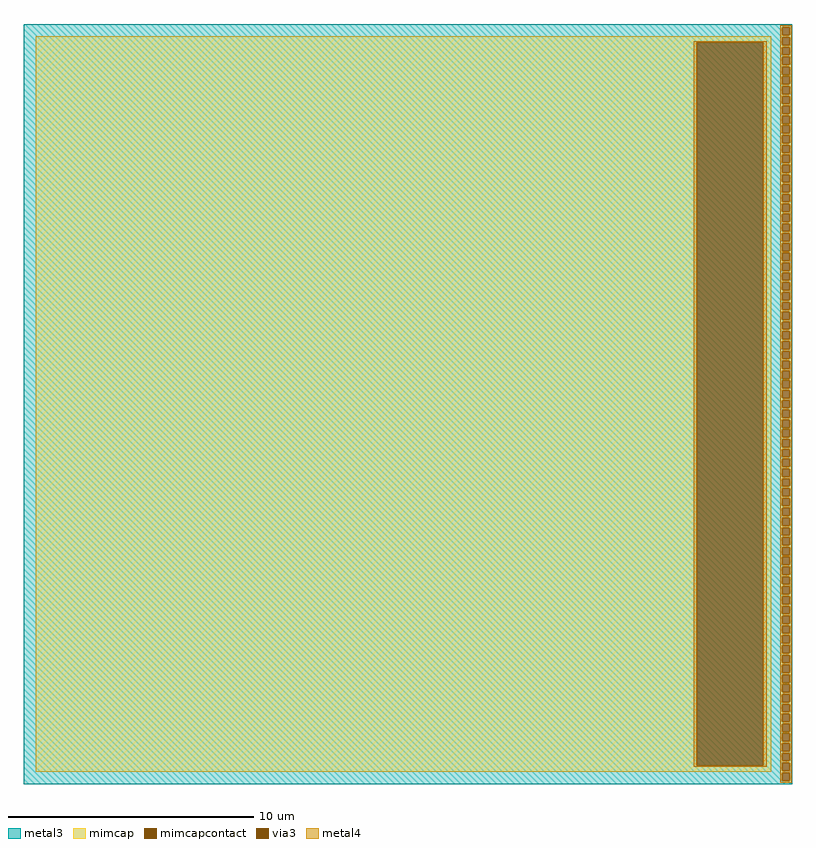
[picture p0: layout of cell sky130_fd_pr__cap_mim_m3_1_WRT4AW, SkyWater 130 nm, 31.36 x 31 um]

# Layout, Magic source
magic
tech sky130A
magscale 1 2
<< metal3 >>
rect -3136 3072 3136 3100
rect -3136 3008 3052 3072
rect 3116 3008 3136 3072
rect -3136 2992 3136 3008
rect -3136 2928 3052 2992
rect 3116 2928 3136 2992
rect -3136 2912 3136 2928
rect -3136 2848 3052 2912
rect 3116 2848 3136 2912
rect -3136 2832 3136 2848
rect -3136 2768 3052 2832
rect 3116 2768 3136 2832
rect -3136 2752 3136 2768
rect -3136 2688 3052 2752
rect 3116 2688 3136 2752
rect -3136 2672 3136 2688
rect -3136 2608 3052 2672
rect 3116 2608 3136 2672
rect -3136 2592 3136 2608
rect -3136 2528 3052 2592
rect 3116 2528 3136 2592
rect -3136 2512 3136 2528
rect -3136 2448 3052 2512
rect 3116 2448 3136 2512
rect -3136 2432 3136 2448
rect -3136 2368 3052 2432
rect 3116 2368 3136 2432
rect -3136 2352 3136 2368
rect -3136 2288 3052 2352
rect 3116 2288 3136 2352
rect -3136 2272 3136 2288
rect -3136 2208 3052 2272
rect 3116 2208 3136 2272
rect -3136 2192 3136 2208
rect -3136 2128 3052 2192
rect 3116 2128 3136 2192
rect -3136 2112 3136 2128
rect -3136 2048 3052 2112
rect 3116 2048 3136 2112
rect -3136 2032 3136 2048
rect -3136 1968 3052 2032
rect 3116 1968 3136 2032
rect -3136 1952 3136 1968
rect -3136 1888 3052 1952
rect 3116 1888 3136 1952
rect -3136 1872 3136 1888
rect -3136 1808 3052 1872
rect 3116 1808 3136 1872
rect -3136 1792 3136 1808
rect -3136 1728 3052 1792
rect 3116 1728 3136 1792
rect -3136 1712 3136 1728
rect -3136 1648 3052 1712
rect 3116 1648 3136 1712
rect -3136 1632 3136 1648
rect -3136 1568 3052 1632
rect 3116 1568 3136 1632
rect -3136 1552 3136 1568
rect -3136 1488 3052 1552
rect 3116 1488 3136 1552
rect -3136 1472 3136 1488
rect -3136 1408 3052 1472
rect 3116 1408 3136 1472
rect -3136 1392 3136 1408
rect -3136 1328 3052 1392
rect 3116 1328 3136 1392
rect -3136 1312 3136 1328
rect -3136 1248 3052 1312
rect 3116 1248 3136 1312
rect -3136 1232 3136 1248
rect -3136 1168 3052 1232
rect 3116 1168 3136 1232
rect -3136 1152 3136 1168
rect -3136 1088 3052 1152
rect 3116 1088 3136 1152
rect -3136 1072 3136 1088
rect -3136 1008 3052 1072
rect 3116 1008 3136 1072
rect -3136 992 3136 1008
rect -3136 928 3052 992
rect 3116 928 3136 992
rect -3136 912 3136 928
rect -3136 848 3052 912
rect 3116 848 3136 912
rect -3136 832 3136 848
rect -3136 768 3052 832
rect 3116 768 3136 832
rect -3136 752 3136 768
rect -3136 688 3052 752
rect 3116 688 3136 752
rect -3136 672 3136 688
rect -3136 608 3052 672
rect 3116 608 3136 672
rect -3136 592 3136 608
rect -3136 528 3052 592
rect 3116 528 3136 592
rect -3136 512 3136 528
rect -3136 448 3052 512
rect 3116 448 3136 512
rect -3136 432 3136 448
rect -3136 368 3052 432
rect 3116 368 3136 432
rect -3136 352 3136 368
rect -3136 288 3052 352
rect 3116 288 3136 352
rect -3136 272 3136 288
rect -3136 208 3052 272
rect 3116 208 3136 272
rect -3136 192 3136 208
rect -3136 128 3052 192
rect 3116 128 3136 192
rect -3136 112 3136 128
rect -3136 48 3052 112
rect 3116 48 3136 112
rect -3136 32 3136 48
rect -3136 -32 3052 32
rect 3116 -32 3136 32
rect -3136 -48 3136 -32
rect -3136 -112 3052 -48
rect 3116 -112 3136 -48
rect -3136 -128 3136 -112
rect -3136 -192 3052 -128
rect 3116 -192 3136 -128
rect -3136 -208 3136 -192
rect -3136 -272 3052 -208
rect 3116 -272 3136 -208
rect -3136 -288 3136 -272
rect -3136 -352 3052 -288
rect 3116 -352 3136 -288
rect -3136 -368 3136 -352
rect -3136 -432 3052 -368
rect 3116 -432 3136 -368
rect -3136 -448 3136 -432
rect -3136 -512 3052 -448
rect 3116 -512 3136 -448
rect -3136 -528 3136 -512
rect -3136 -592 3052 -528
rect 3116 -592 3136 -528
rect -3136 -608 3136 -592
rect -3136 -672 3052 -608
rect 3116 -672 3136 -608
rect -3136 -688 3136 -672
rect -3136 -752 3052 -688
rect 3116 -752 3136 -688
rect -3136 -768 3136 -752
rect -3136 -832 3052 -768
rect 3116 -832 3136 -768
rect -3136 -848 3136 -832
rect -3136 -912 3052 -848
rect 3116 -912 3136 -848
rect -3136 -928 3136 -912
rect -3136 -992 3052 -928
rect 3116 -992 3136 -928
rect -3136 -1008 3136 -992
rect -3136 -1072 3052 -1008
rect 3116 -1072 3136 -1008
rect -3136 -1088 3136 -1072
rect -3136 -1152 3052 -1088
rect 3116 -1152 3136 -1088
rect -3136 -1168 3136 -1152
rect -3136 -1232 3052 -1168
rect 3116 -1232 3136 -1168
rect -3136 -1248 3136 -1232
rect -3136 -1312 3052 -1248
rect 3116 -1312 3136 -1248
rect -3136 -1328 3136 -1312
rect -3136 -1392 3052 -1328
rect 3116 -1392 3136 -1328
rect -3136 -1408 3136 -1392
rect -3136 -1472 3052 -1408
rect 3116 -1472 3136 -1408
rect -3136 -1488 3136 -1472
rect -3136 -1552 3052 -1488
rect 3116 -1552 3136 -1488
rect -3136 -1568 3136 -1552
rect -3136 -1632 3052 -1568
rect 3116 -1632 3136 -1568
rect -3136 -1648 3136 -1632
rect -3136 -1712 3052 -1648
rect 3116 -1712 3136 -1648
rect -3136 -1728 3136 -1712
rect -3136 -1792 3052 -1728
rect 3116 -1792 3136 -1728
rect -3136 -1808 3136 -1792
rect -3136 -1872 3052 -1808
rect 3116 -1872 3136 -1808
rect -3136 -1888 3136 -1872
rect -3136 -1952 3052 -1888
rect 3116 -1952 3136 -1888
rect -3136 -1968 3136 -1952
rect -3136 -2032 3052 -1968
rect 3116 -2032 3136 -1968
rect -3136 -2048 3136 -2032
rect -3136 -2112 3052 -2048
rect 3116 -2112 3136 -2048
rect -3136 -2128 3136 -2112
rect -3136 -2192 3052 -2128
rect 3116 -2192 3136 -2128
rect -3136 -2208 3136 -2192
rect -3136 -2272 3052 -2208
rect 3116 -2272 3136 -2208
rect -3136 -2288 3136 -2272
rect -3136 -2352 3052 -2288
rect 3116 -2352 3136 -2288
rect -3136 -2368 3136 -2352
rect -3136 -2432 3052 -2368
rect 3116 -2432 3136 -2368
rect -3136 -2448 3136 -2432
rect -3136 -2512 3052 -2448
rect 3116 -2512 3136 -2448
rect -3136 -2528 3136 -2512
rect -3136 -2592 3052 -2528
rect 3116 -2592 3136 -2528
rect -3136 -2608 3136 -2592
rect -3136 -2672 3052 -2608
rect 3116 -2672 3136 -2608
rect -3136 -2688 3136 -2672
rect -3136 -2752 3052 -2688
rect 3116 -2752 3136 -2688
rect -3136 -2768 3136 -2752
rect -3136 -2832 3052 -2768
rect 3116 -2832 3136 -2768
rect -3136 -2848 3136 -2832
rect -3136 -2912 3052 -2848
rect 3116 -2912 3136 -2848
rect -3136 -2928 3136 -2912
rect -3136 -2992 3052 -2928
rect 3116 -2992 3136 -2928
rect -3136 -3008 3136 -2992
rect -3136 -3072 3052 -3008
rect 3116 -3072 3136 -3008
rect -3136 -3100 3136 -3072
<< via3 >>
rect 3052 3008 3116 3072
rect 3052 2928 3116 2992
rect 3052 2848 3116 2912
rect 3052 2768 3116 2832
rect 3052 2688 3116 2752
rect 3052 2608 3116 2672
rect 3052 2528 3116 2592
rect 3052 2448 3116 2512
rect 3052 2368 3116 2432
rect 3052 2288 3116 2352
rect 3052 2208 3116 2272
rect 3052 2128 3116 2192
rect 3052 2048 3116 2112
rect 3052 1968 3116 2032
rect 3052 1888 3116 1952
rect 3052 1808 3116 1872
rect 3052 1728 3116 1792
rect 3052 1648 3116 1712
rect 3052 1568 3116 1632
rect 3052 1488 3116 1552
rect 3052 1408 3116 1472
rect 3052 1328 3116 1392
rect 3052 1248 3116 1312
rect 3052 1168 3116 1232
rect 3052 1088 3116 1152
rect 3052 1008 3116 1072
rect 3052 928 3116 992
rect 3052 848 3116 912
rect 3052 768 3116 832
rect 3052 688 3116 752
rect 3052 608 3116 672
rect 3052 528 3116 592
rect 3052 448 3116 512
rect 3052 368 3116 432
rect 3052 288 3116 352
rect 3052 208 3116 272
rect 3052 128 3116 192
rect 3052 48 3116 112
rect 3052 -32 3116 32
rect 3052 -112 3116 -48
rect 3052 -192 3116 -128
rect 3052 -272 3116 -208
rect 3052 -352 3116 -288
rect 3052 -432 3116 -368
rect 3052 -512 3116 -448
rect 3052 -592 3116 -528
rect 3052 -672 3116 -608
rect 3052 -752 3116 -688
rect 3052 -832 3116 -768
rect 3052 -912 3116 -848
rect 3052 -992 3116 -928
rect 3052 -1072 3116 -1008
rect 3052 -1152 3116 -1088
rect 3052 -1232 3116 -1168
rect 3052 -1312 3116 -1248
rect 3052 -1392 3116 -1328
rect 3052 -1472 3116 -1408
rect 3052 -1552 3116 -1488
rect 3052 -1632 3116 -1568
rect 3052 -1712 3116 -1648
rect 3052 -1792 3116 -1728
rect 3052 -1872 3116 -1808
rect 3052 -1952 3116 -1888
rect 3052 -2032 3116 -1968
rect 3052 -2112 3116 -2048
rect 3052 -2192 3116 -2128
rect 3052 -2272 3116 -2208
rect 3052 -2352 3116 -2288
rect 3052 -2432 3116 -2368
rect 3052 -2512 3116 -2448
rect 3052 -2592 3116 -2528
rect 3052 -2672 3116 -2608
rect 3052 -2752 3116 -2688
rect 3052 -2832 3116 -2768
rect 3052 -2912 3116 -2848
rect 3052 -2992 3116 -2928
rect 3052 -3072 3116 -3008
<< mimcap >>
rect -3036 2952 2964 3000
rect -3036 -2952 2356 2952
rect 2900 -2952 2964 2952
rect -3036 -3000 2964 -2952
<< mimcapcontact >>
rect 2356 -2952 2900 2952
<< metal4 >>
rect 3036 3072 3132 3088
rect 3036 3008 3052 3072
rect 3116 3008 3132 3072
rect 3036 2992 3132 3008
rect 2331 2952 2925 2961
rect 2331 -2952 2356 2952
rect 2900 -2952 2925 2952
rect 2331 -2961 2925 -2952
rect 3036 2928 3052 2992
rect 3116 2928 3132 2992
rect 3036 2912 3132 2928
rect 3036 2848 3052 2912
rect 3116 2848 3132 2912
rect 3036 2832 3132 2848
rect 3036 2768 3052 2832
rect 3116 2768 3132 2832
rect 3036 2752 3132 2768
rect 3036 2688 3052 2752
rect 3116 2688 3132 2752
rect 3036 2672 3132 2688
rect 3036 2608 3052 2672
rect 3116 2608 3132 2672
rect 3036 2592 3132 2608
rect 3036 2528 3052 2592
rect 3116 2528 3132 2592
rect 3036 2512 3132 2528
rect 3036 2448 3052 2512
rect 3116 2448 3132 2512
rect 3036 2432 3132 2448
rect 3036 2368 3052 2432
rect 3116 2368 3132 2432
rect 3036 2352 3132 2368
rect 3036 2288 3052 2352
rect 3116 2288 3132 2352
rect 3036 2272 3132 2288
rect 3036 2208 3052 2272
rect 3116 2208 3132 2272
rect 3036 2192 3132 2208
rect 3036 2128 3052 2192
rect 3116 2128 3132 2192
rect 3036 2112 3132 2128
rect 3036 2048 3052 2112
rect 3116 2048 3132 2112
rect 3036 2032 3132 2048
rect 3036 1968 3052 2032
rect 3116 1968 3132 2032
rect 3036 1952 3132 1968
rect 3036 1888 3052 1952
rect 3116 1888 3132 1952
rect 3036 1872 3132 1888
rect 3036 1808 3052 1872
rect 3116 1808 3132 1872
rect 3036 1792 3132 1808
rect 3036 1728 3052 1792
rect 3116 1728 3132 1792
rect 3036 1712 3132 1728
rect 3036 1648 3052 1712
rect 3116 1648 3132 1712
rect 3036 1632 3132 1648
rect 3036 1568 3052 1632
rect 3116 1568 3132 1632
rect 3036 1552 3132 1568
rect 3036 1488 3052 1552
rect 3116 1488 3132 1552
rect 3036 1472 3132 1488
rect 3036 1408 3052 1472
rect 3116 1408 3132 1472
rect 3036 1392 3132 1408
rect 3036 1328 3052 1392
rect 3116 1328 3132 1392
rect 3036 1312 3132 1328
rect 3036 1248 3052 1312
rect 3116 1248 3132 1312
rect 3036 1232 3132 1248
rect 3036 1168 3052 1232
rect 3116 1168 3132 1232
rect 3036 1152 3132 1168
rect 3036 1088 3052 1152
rect 3116 1088 3132 1152
rect 3036 1072 3132 1088
rect 3036 1008 3052 1072
rect 3116 1008 3132 1072
rect 3036 992 3132 1008
rect 3036 928 3052 992
rect 3116 928 3132 992
rect 3036 912 3132 928
rect 3036 848 3052 912
rect 3116 848 3132 912
rect 3036 832 3132 848
rect 3036 768 3052 832
rect 3116 768 3132 832
rect 3036 752 3132 768
rect 3036 688 3052 752
rect 3116 688 3132 752
rect 3036 672 3132 688
rect 3036 608 3052 672
rect 3116 608 3132 672
rect 3036 592 3132 608
rect 3036 528 3052 592
rect 3116 528 3132 592
rect 3036 512 3132 528
rect 3036 448 3052 512
rect 3116 448 3132 512
rect 3036 432 3132 448
rect 3036 368 3052 432
rect 3116 368 3132 432
rect 3036 352 3132 368
rect 3036 288 3052 352
rect 3116 288 3132 352
rect 3036 272 3132 288
rect 3036 208 3052 272
rect 3116 208 3132 272
rect 3036 192 3132 208
rect 3036 128 3052 192
rect 3116 128 3132 192
rect 3036 112 3132 128
rect 3036 48 3052 112
rect 3116 48 3132 112
rect 3036 32 3132 48
rect 3036 -32 3052 32
rect 3116 -32 3132 32
rect 3036 -48 3132 -32
rect 3036 -112 3052 -48
rect 3116 -112 3132 -48
rect 3036 -128 3132 -112
rect 3036 -192 3052 -128
rect 3116 -192 3132 -128
rect 3036 -208 3132 -192
rect 3036 -272 3052 -208
rect 3116 -272 3132 -208
rect 3036 -288 3132 -272
rect 3036 -352 3052 -288
rect 3116 -352 3132 -288
rect 3036 -368 3132 -352
rect 3036 -432 3052 -368
rect 3116 -432 3132 -368
rect 3036 -448 3132 -432
rect 3036 -512 3052 -448
rect 3116 -512 3132 -448
rect 3036 -528 3132 -512
rect 3036 -592 3052 -528
rect 3116 -592 3132 -528
rect 3036 -608 3132 -592
rect 3036 -672 3052 -608
rect 3116 -672 3132 -608
rect 3036 -688 3132 -672
rect 3036 -752 3052 -688
rect 3116 -752 3132 -688
rect 3036 -768 3132 -752
rect 3036 -832 3052 -768
rect 3116 -832 3132 -768
rect 3036 -848 3132 -832
rect 3036 -912 3052 -848
rect 3116 -912 3132 -848
rect 3036 -928 3132 -912
rect 3036 -992 3052 -928
rect 3116 -992 3132 -928
rect 3036 -1008 3132 -992
rect 3036 -1072 3052 -1008
rect 3116 -1072 3132 -1008
rect 3036 -1088 3132 -1072
rect 3036 -1152 3052 -1088
rect 3116 -1152 3132 -1088
rect 3036 -1168 3132 -1152
rect 3036 -1232 3052 -1168
rect 3116 -1232 3132 -1168
rect 3036 -1248 3132 -1232
rect 3036 -1312 3052 -1248
rect 3116 -1312 3132 -1248
rect 3036 -1328 3132 -1312
rect 3036 -1392 3052 -1328
rect 3116 -1392 3132 -1328
rect 3036 -1408 3132 -1392
rect 3036 -1472 3052 -1408
rect 3116 -1472 3132 -1408
rect 3036 -1488 3132 -1472
rect 3036 -1552 3052 -1488
rect 3116 -1552 3132 -1488
rect 3036 -1568 3132 -1552
rect 3036 -1632 3052 -1568
rect 3116 -1632 3132 -1568
rect 3036 -1648 3132 -1632
rect 3036 -1712 3052 -1648
rect 3116 -1712 3132 -1648
rect 3036 -1728 3132 -1712
rect 3036 -1792 3052 -1728
rect 3116 -1792 3132 -1728
rect 3036 -1808 3132 -1792
rect 3036 -1872 3052 -1808
rect 3116 -1872 3132 -1808
rect 3036 -1888 3132 -1872
rect 3036 -1952 3052 -1888
rect 3116 -1952 3132 -1888
rect 3036 -1968 3132 -1952
rect 3036 -2032 3052 -1968
rect 3116 -2032 3132 -1968
rect 3036 -2048 3132 -2032
rect 3036 -2112 3052 -2048
rect 3116 -2112 3132 -2048
rect 3036 -2128 3132 -2112
rect 3036 -2192 3052 -2128
rect 3116 -2192 3132 -2128
rect 3036 -2208 3132 -2192
rect 3036 -2272 3052 -2208
rect 3116 -2272 3132 -2208
rect 3036 -2288 3132 -2272
rect 3036 -2352 3052 -2288
rect 3116 -2352 3132 -2288
rect 3036 -2368 3132 -2352
rect 3036 -2432 3052 -2368
rect 3116 -2432 3132 -2368
rect 3036 -2448 3132 -2432
rect 3036 -2512 3052 -2448
rect 3116 -2512 3132 -2448
rect 3036 -2528 3132 -2512
rect 3036 -2592 3052 -2528
rect 3116 -2592 3132 -2528
rect 3036 -2608 3132 -2592
rect 3036 -2672 3052 -2608
rect 3116 -2672 3132 -2608
rect 3036 -2688 3132 -2672
rect 3036 -2752 3052 -2688
rect 3116 -2752 3132 -2688
rect 3036 -2768 3132 -2752
rect 3036 -2832 3052 -2768
rect 3116 -2832 3132 -2768
rect 3036 -2848 3132 -2832
rect 3036 -2912 3052 -2848
rect 3116 -2912 3132 -2848
rect 3036 -2928 3132 -2912
rect 3036 -2992 3052 -2928
rect 3116 -2992 3132 -2928
rect 3036 -3008 3132 -2992
rect 3036 -3072 3052 -3008
rect 3116 -3072 3132 -3008
rect 3036 -3088 3132 -3072
<< properties >>
string FIXED_BBOX -3136 -3100 3064 3100
<< end >>
